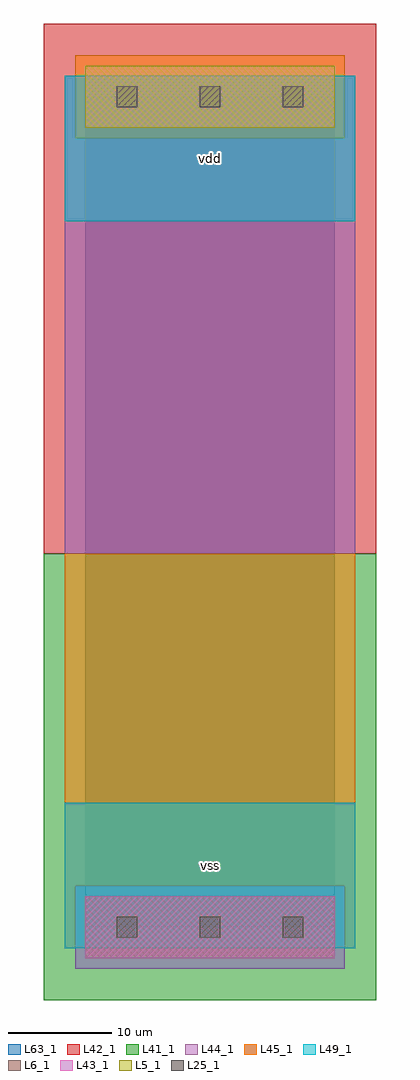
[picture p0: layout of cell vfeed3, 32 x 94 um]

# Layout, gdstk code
import gdstk
lib = gdstk.Library(unit=1e-6, precision=1e-09)
def R(c, l, rs):  # rectangles x0, y0, x1, y1
    for r in rs: c.add(gdstk.rectangle(r[:2], r[2:], *l))
def A(c, l, x, y, w, h, nx, ny, dx, dy):  # array of equal rectangles
    R(c, l, [(x+i*dx, y+j*dy, x+i*dx+w, y+j*dy+h) for i in range(nx) for j in range(ny)])
L5_1 = (5, 1)
L6_1 = (6, 1)
L25_1 = (25, 1)
L41_1 = (41, 1)
L42_1 = (42, 1)
L43_1 = (43, 1)
L44_1 = (44, 1)
L45_1 = (45, 1)
L49_1 = (49, 1)
L63_1 = (63, 1)

vfeed3 = lib.new_cell('vfeed3')
R(vfeed3, L5_1, [(0,77,24,83)])
R(vfeed3, L6_1, [(0,-3,24,3), (0,-3,24,3)])
A(vfeed3, L25_1, 3, -1, 2, 2, 3, 2, 8, 80)
R(vfeed3, L41_1, [(-4,-7,28,36)])
R(vfeed3, L42_1, [(-4,36,28,87)])
R(vfeed3, L43_1, [(0,-3,24,3), (0,77,24,83)])
R(vfeed3, L44_1, [(-1,-4,25,4), (-2,36,26,76), (-2,76,-1,82), (25,76,26,82)])
R(vfeed3, L45_1, [(-2,-2,-1,4), (25,-2,26,4), (-2,4,26,36), (-1,76,25,84)])
R(vfeed3, L49_1, [(-2,-2,26,12), (-2,68,26,82)])
R(vfeed3, L63_1, [(0,0,24,80)])
vfeed3.add(gdstk.Label('vss', (12,6), layer=49, texttype=1))
vfeed3.add(gdstk.Label('vdd', (12,74), layer=49, texttype=1))

lib.write_gds('vfeed3.gds')
